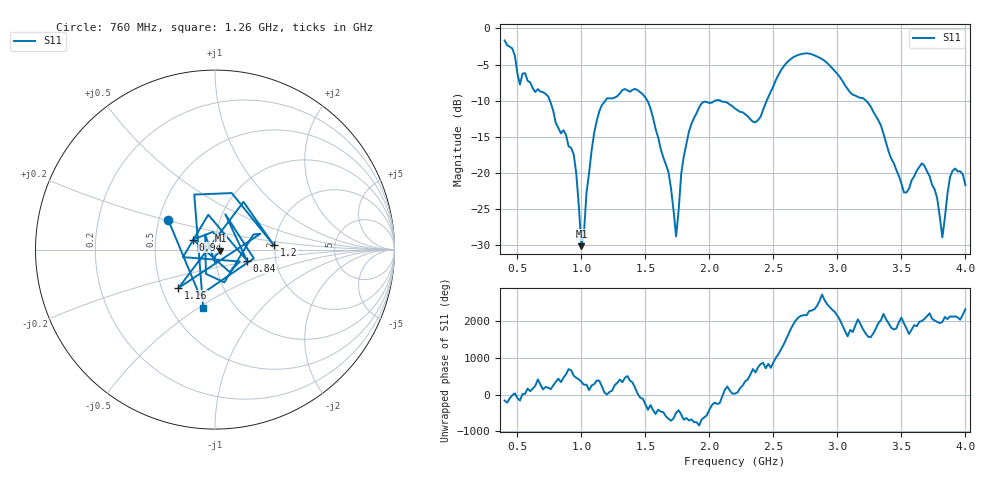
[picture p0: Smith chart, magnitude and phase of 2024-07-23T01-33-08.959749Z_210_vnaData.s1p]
!Created with skrf (http://scikit-rf.org).
# Hz S RI R 50.0
!freq ReS11 ImS11
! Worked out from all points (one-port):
!   181 points, 400 MHz to 4 GHz, reference 50 ohm
!   lowest |S11| = -30.1 dB at 1 GHz (marker M1), VSWR 1.06, Z = 53.2 - j0.681 ohm
!   |S11| at or under -10 dB: 754 MHz to 1.187 GHz (433.1 MHz wide, 44.6 % of centre); 1.515 GHz to 2.043 GHz (528 MHz wide, 29.7 % of centre); 3.224 GHz to end of sweep (the widest 3 of 4)
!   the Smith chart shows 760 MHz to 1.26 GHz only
!   S11 on the Smith chart (normalised r, x): 760 MHz: 0.56, +0.20; 840 MHz: 1.42, -0.18; 940 MHz: 0.78, +0.09; 1.16 GHz: 0.61, -0.29; 1.2 GHz: 1.97, +0.11; 1.26 GHz: 0.72, -0.52
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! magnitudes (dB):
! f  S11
! 400 MHz  -1.7
! 520 MHz  -7.8
! 760 MHz  -10.3
! 840 MHz  -14.5
! 860 MHz  -14.1
! 940 MHz  -17.4
! 1 GHz  -30.1
! 1.08 GHz  -16.8
! 1.16 GHz  -10.6
! 1.2 GHz  -9.7
! 1.26 GHz  -9.6
! 1.3 GHz  -9.0
! 1.52 GHz  -10.1
! 1.68 GHz  -19.8
! 1.74 GHz  -28.7
! 1.76 GHz  -25.0
! 1.8 GHz  -17.7
! 1.92 GHz  -10.9
! 2.2 GHz  -11.1
! 2.38 GHz  -12.7
! 2.66 GHz  -3.9
! 3.1 GHz  -8.9
! 3.26 GHz  -10.8
! 3.56 GHz  -22.1
! 3.68 GHz  -19.0
! 3.82 GHz  -28.9
! 3.9 GHz  -19.7
! 4 GHz  -21.7
